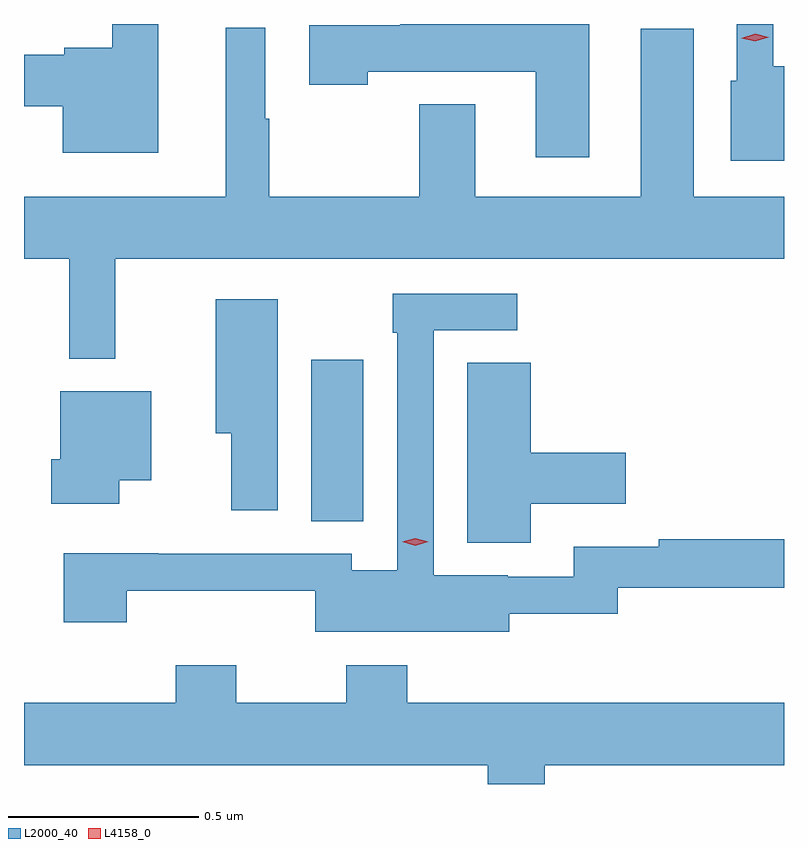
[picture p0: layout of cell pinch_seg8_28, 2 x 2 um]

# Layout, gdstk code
import gdstk
lib = gdstk.Library(unit=1e-6, precision=1e-09)
def R(c, l, rs):  # rectangles x0, y0, x1, y1
    for r in rs: c.add(gdstk.rectangle(r[:2], r[2:], *l))
def P(c, l, *ps):  # polygons
    for p in ps: c.add(gdstk.Polygon(p, *l))
L2000_40 = (2000, 40)
L4158_0 = (4158, 0)

pinch_seg8_28 = lib.new_cell('pinch_seg8_28')
R(pinch_seg8_28, L2000_40, [(893.51,1161.097,893.647,1161.523)])
P(pinch_seg8_28, L2000_40, [(894.241,1162.406),(893.744,1162.406),(893.744,1162.403),(893.504,1162.403),(893.504,1162.246),(893.658,1162.246),(893.658,1162.28),(894.101,1162.28),(894.101,1162.056),(894.241,1162.056)],
  [(893.107,1162.406),(892.986,1162.406),(892.986,1162.343),(892.86,1162.343),(892.86,1162.325),(892.754,1162.325),(892.754,1162.19),(892.856,1162.19),(892.856,1162.067),(893.107,1162.067)],
  [(894.754,1162.295),(894.726,1162.295),(894.726,1162.406),(894.63,1162.406),(894.63,1162.257),(894.614,1162.257),(894.614,1162.046),(894.754,1162.046)],
  [(892.994,1161.788),(894.754,1161.788),(894.754,1161.952),(894.517,1161.952),(894.517,1162.393),(894.377,1162.393),(894.377,1161.952),(893.941,1161.952),(893.941,1162.195),(893.794,1162.195),(893.794,1161.952),(893.399,1161.952),(893.399,1162.157),(893.389,1162.157),(893.389,1162.396),(893.285,1162.396),(893.285,1161.952),(892.754,1161.952),(892.754,1161.788),(892.873,1161.788),(892.873,1161.525),(892.994,1161.525)],
  [(894.031,1160.854),(894.317,1160.854),(894.317,1160.922),(894.754,1160.922),(894.754,1161.05),(894.424,1161.05),(894.424,1161.03),(894.201,1161.03),(894.201,1160.952),(894.027,1160.952),(894.027,1160.956),(893.832,1160.956),(893.832,1161.6),(894.052,1161.6),(894.052,1161.696),(893.724,1161.696),(893.724,1161.593),(893.736,1161.593),(893.736,1160.968),(893.616,1160.968),(893.616,1161.012),(893.107,1161.012),(893.107,1161.013),(892.859,1161.013),(892.859,1160.832),(893.024,1160.832),(893.024,1160.915),(893.52,1160.915),(893.52,1160.807),(894.031,1160.807)],
  [(893.422,1161.682),(893.258,1161.682),(893.258,1161.329),(893.3,1161.329),(893.3,1161.126),(893.422,1161.126)],
  [(894.088,1161.143),(894.337,1161.143),(894.337,1161.278),(894.088,1161.278),(894.088,1161.515),(893.921,1161.515),(893.921,1161.041),(894.088,1161.041)],
  [(893.004,1161.206),(893.089,1161.206),(893.089,1161.439),(892.85,1161.439),(892.85,1161.261),(892.826,1161.261),(892.826,1161.143),(893.004,1161.143)],
  [(894.125,1160.456),(894.754,1160.456),(894.754,1160.62),(893.762,1160.62),(893.762,1160.719),(893.602,1160.719),(893.602,1160.62),(893.313,1160.62),(893.313,1160.719),(893.153,1160.719),(893.153,1160.62),(892.754,1160.62),(892.754,1160.456),(893.975,1160.456),(893.975,1160.406),(894.125,1160.406)])
P(pinch_seg8_28, L4158_0, [(894.678,1162.36),(894.642,1162.369),(894.642,1162.369),(894.642,1162.369),(894.678,1162.38),(894.714,1162.371),(894.714,1162.371),(894.714,1162.371)],
  [(893.784,1161.033),(893.749,1161.043),(893.749,1161.043),(893.749,1161.043),(893.784,1161.053),(893.818,1161.043),(893.818,1161.043),(893.818,1161.043)])

lib.write_gds('pinch_seg8_28.gds')
